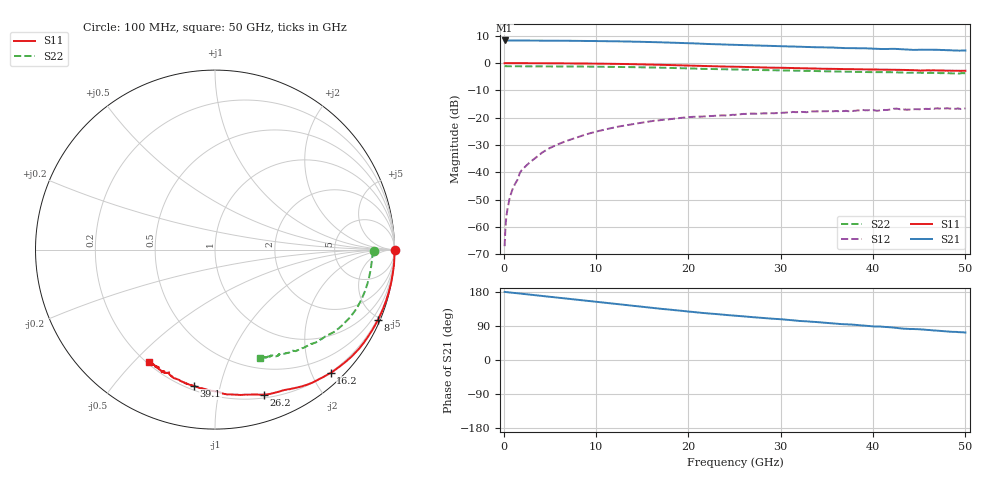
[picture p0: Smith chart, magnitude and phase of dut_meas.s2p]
# Hz S RI R 50.00
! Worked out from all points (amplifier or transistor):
!   500 points, 100 MHz to 50 GHz, reference 50 ohm
!   highest |S21| = 8.3 dB at 100 MHz (marker M1)
!   |S21| within 3 dB of that: start of sweep to 39.73 GHz
!   unconditionally stable (mu >= 1): nowhere
!   at 8.4 GHz: K = 0.07, MSG = 17.4 dB, |S12| = -26.7 dB
!   at 25.1 GHz: K = 0.42, MSG = 12.8 dB, |S12| = -18.9 dB
!   at 50 GHz: K = 0.72, MSG = 10.6 dB, |S12| = -16.5 dB
!   S11 on the Smith chart (normalised r, x): 100 MHz: open; 8 GHz: 0.14, -4.86; 16.2 GHz: 0.19, -2.30; 26.2 GHz: 0.23, -1.36; 39.1 GHz: 0.22, -0.83; 50 GHz: 0.21, -0.56
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1e8  1 -0.00482  -2.609 0.013  -2.85e-06 0.000443  0.8838 -0.00836
4e8  1 -0.0201  -2.602 0.0517  1.08e-05 0.00206  0.8789 -0.0147
7e8  0.9998 -0.035  -2.602 0.0857  6.83e-05 0.00364  0.8781 -0.022
1e9  0.9992 -0.0502  -2.598 0.1207  0.000189 0.00509  0.8771 -0.03
1.9e9  0.9956 -0.0961  -2.59 0.227  1.73e-05 0.0107  0.8749 -0.0536
4.5e9  0.9714 -0.2256  -2.534 0.5315  0.00289 0.0248  0.865 -0.1227
8e9  0.9087 -0.3902  -2.393 0.9202  0.0116 0.0426  0.841 -0.2147
8.5e9  0.8972 -0.4121  -2.367 0.9705  0.0131 0.0451  0.8367 -0.2276
1.22e10  0.7929 -0.5631  -2.135 1.334  0.0289 0.0611  0.7945 -0.3187
1.62e10  0.6445 -0.6871  -1.793 1.653  0.0508 0.0713  0.7281 -0.4017
1.68e10  0.6202 -0.701  -1.732 1.683  0.0539 0.0714  0.7179 -0.4119
2.07e10  0.4647 -0.7667  -1.359 1.864  0.0762 0.0706  0.6437 -0.4685
2.51e10  0.3128 -0.8032  -0.98 1.933  0.0924 0.066  0.5741 -0.511
2.62e10  0.2711 -0.8078  -0.896 1.944  0.0987 0.0642  0.5547 -0.5197
3.18e10  0.0896 -0.8067  -0.478 1.959  0.116 0.0506  0.4714 -0.5546
3.34e10  0.0429 -0.8017  -0.3733 1.934  0.1206 0.0498  0.4488 -0.5659
3.91e10  -0.1161 -0.7598  -0.022 1.87  0.1336 0.0335  0.3713 -0.5814
4.17e10  -0.1767 -0.7387  0.1038 1.822  0.1376 0.0303  0.3472 -0.5925
4.34e10  -0.2294 -0.716  0.2307 1.781  0.1397 0.019  0.315 -0.5901
4.44e10  -0.2437 -0.7041  0.2522 1.734  0.1418 0.0194  0.3096 -0.5935
4.82e10  -0.3322 -0.6518  0.458 1.671  0.1475 0.00407  0.2618 -0.6022
5e10  -0.3652 -0.6289  0.5102 1.631  0.1487 0.00377  0.248 -0.6061
